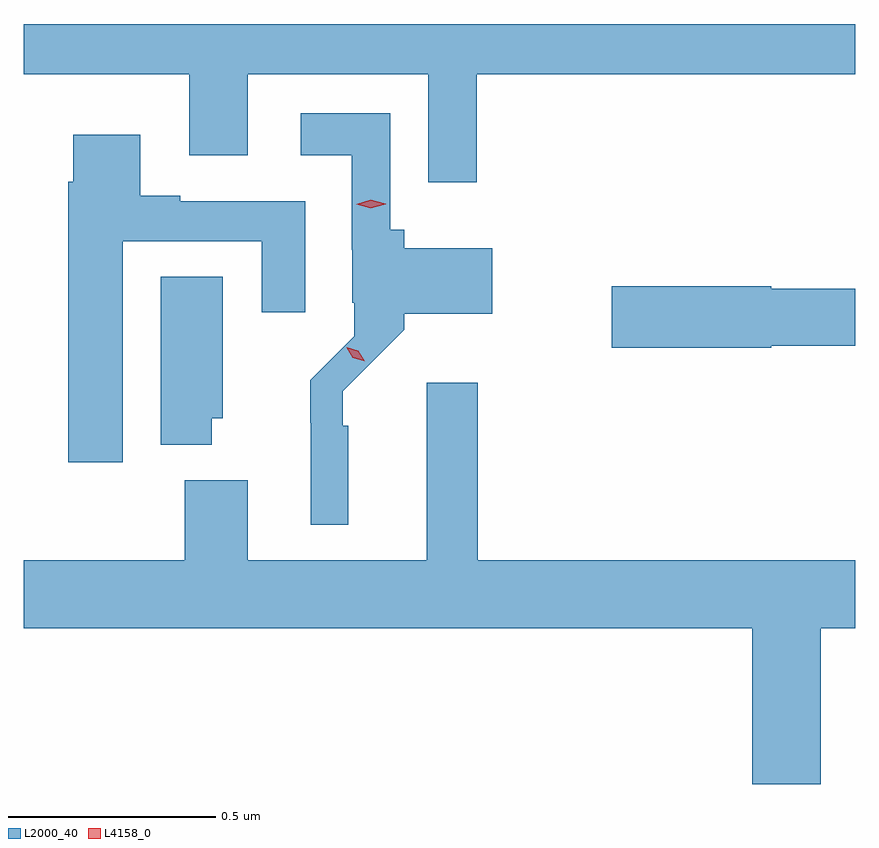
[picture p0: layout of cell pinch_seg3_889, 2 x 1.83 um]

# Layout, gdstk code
import gdstk
lib = gdstk.Library(unit=1e-6, precision=1e-09)
def P(c, l, *ps):  # polygons
    for p in ps: c.add(gdstk.Polygon(p, *l))
L2000_40 = (2000, 40)
L4158_0 = (4158, 0)

pinch_seg3_889 = lib.new_cell('pinch_seg3_889')
P(pinch_seg3_889, L2000_40, [(679.829,707.576),(680.74,707.576),(680.74,707.697),(678.74,707.697),(678.74,707.576),(679.139,707.576),(679.139,707.382),(679.279,707.382),(679.279,707.576),(679.713,707.576),(679.713,707.316),(679.829,707.316)],
  [(679.521,706.731),(679.507,706.731),(679.507,706.814),(679.655,706.962),(679.655,707),(679.867,707),(679.867,707.158),(679.655,707.158),(679.655,707.202),(679.622,707.202),(679.622,707.482),(679.407,707.482),(679.407,707.381),(679.529,707.381),(679.529,707.154),(679.53,707.154),(679.53,707.027),(679.535,707.027),(679.535,706.946),(679.429,706.84),(679.429,706.738),(679.43,706.738),(679.43,706.493),(679.521,706.493)],
  [(678.979,707.175),(679.313,707.175),(679.313,707.004),(679.417,707.004),(679.417,707.271),(679.117,707.271),(679.117,707.284),(679.021,707.284),(679.021,707.431),(678.86,707.431),(678.86,707.318),(678.848,707.318),(678.848,706.644),(678.979,706.644)],
  [(679.192,706.749),(679.219,706.749),(679.219,707.09),(679.07,707.09),(679.07,706.685),(679.192,706.685)],
  [(680.538,706.924),(680.74,706.924),(680.74,707.06),(680.538,707.06),(680.538,707.066),(680.154,707.066),(680.154,706.919),(680.538,706.919)],
  [(680.656,706.244),(680.74,706.244),(680.74,706.408),(679.832,706.408),(679.832,706.834),(679.709,706.834),(679.709,706.408),(679.279,706.408),(679.279,706.6),(679.127,706.6),(679.127,706.408),(678.74,706.408),(678.74,706.244),(680.492,706.244),(680.492,705.87),(680.656,705.87)])
P(pinch_seg3_889, L4158_0, [(679.575,707.254),(679.54,707.264),(679.539,707.264),(679.54,707.264),(679.575,707.274),(679.611,707.265),(679.611,707.265),(679.611,707.264)],
  [(679.56,706.886),(679.532,706.895),(679.517,706.919),(679.517,706.92),(679.517,706.92),(679.545,706.911),(679.56,706.886),(679.56,706.886)])

lib.write_gds('pinch_seg3_889.gds')
